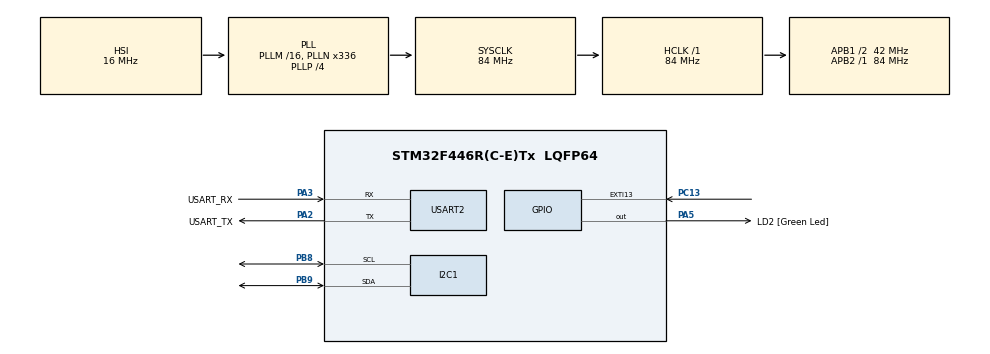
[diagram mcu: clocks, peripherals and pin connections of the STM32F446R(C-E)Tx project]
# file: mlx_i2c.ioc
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I2C1.I2C_Mode=I2C_Fast
Mcu.Family=STM32F4
Mcu.Name=STM32F446R(C-E)Tx
Mcu.Package=LQFP64
NVIC.EXTI15_10_IRQn=true\:0\:0\:false\:false\:true\:true\:true\:true
NVIC.PriorityGroup=NVIC_PRIORITYGROUP_0
PA13.GPIO_Label=TMS
PA13.Mode=Serial_Wire
PA13.Signal=SYS_JTMS-SWDIO
PA14.GPIO_Label=TCK
PA14.Mode=Serial_Wire
PA14.Signal=SYS_JTCK-SWCLK
PA2.GPIO_Label=USART_TX
PA2.Mode=Asynchronous
PA2.Signal=USART2_TX
PA3.GPIO_Label=USART_RX
PA3.Mode=Asynchronous
PA3.Signal=USART2_RX
PA5.GPIO_Label=LD2 [Green Led]
PA5.Signal=GPIO_Output
PB3.GPIO_Label=SWO
PB3.Signal=SYS_JTDO-SWO
PB8.Mode=I2C
PB8.Signal=I2C1_SCL
PB9.Mode=I2C
PB9.Signal=I2C1_SDA
PC13.GPIO_ModeDefaultEXTI=GPIO_MODE_IT_FALLING
PC13.GPIO_PuPd=GPIO_NOPULL
PC13.Signal=GPXTI13
PC14-OSC32_IN.Mode=LSE-External-Oscillator
PC14-OSC32_IN.Signal=RCC_OSC32_IN
PC15-OSC32_OUT.Mode=LSE-External-Oscillator
PC15-OSC32_OUT.Signal=RCC_OSC32_OUT
PH0-OSC_IN.Mode=HSE-External-Oscillator
PH0-OSC_IN.Signal=RCC_OSC_IN
PH1-OSC_OUT.Mode=HSE-External-Oscillator
PH1-OSC_OUT.Signal=RCC_OSC_OUT
ProjectManager.HeapSize=0x200
ProjectManager.StackSize=0x400
ProjectManager.TargetToolchain=STM32CubeIDE
RCC.48MHZClocksFreq_Value=84000000
RCC.AHBFreq_Value=84000000
RCC.APB1CLKDivider=RCC_HCLK_DIV2
RCC.APB1Freq_Value=42000000
RCC.APB1TimFreq_Value=84000000
RCC.APB2Freq_Value=84000000
RCC.APB2TimFreq_Value=84000000
RCC.CortexFreq_Value=84000000
RCC.FLatency-AdvancedSettings=FLASH_LATENCY_2
RCC.HCLKFreq_Value=84000000
RCC.HSE_VALUE=8000000
RCC.HSI_VALUE=16000000
RCC.PLLN=336
RCC.PLLP=RCC_PLLP_DIV4
RCC.SYSCLKFreq_VALUE=84000000
RCC.SYSCLKSource=RCC_SYSCLKSOURCE_PLLCLK
RCC.USBFreq_Value=168000000
RCC.VCOOutputFreq_Value=336000000
USART2.VirtualMode=VM_ASYNC
board=NUCLEO-F446RE

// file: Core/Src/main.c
/* USER CODE BEGIN Header */
/**
  ******************************************************************************
  * @file           : main.c
  * @brief          : Main program body
  ******************************************************************************
  * @attention
  *
  * Copyright (c) 2025 STMicroelectronics.
  * All rights reserved.
  *
  * This software is licensed under terms that can be found in the LICENSE file
  * in the root directory of this software component.
  * If no LICENSE file comes with this software, it is provided AS-IS.
  *
  ******************************************************************************
  */
/* USER CODE END Header */
#include "main.h"
#include "i2c.h"
#include "usart.h"
#include "gpio.h"

/* USER CODE BEGIN Includes */
#include "MLX90640_I2C_Driver.h"
#include "MLX90640_API.h"
#include <stdio.h>
#include <string.h>

/* USER CODE END Includes */

/* USER CODE BEGIN PV */

#define SINGLE_CAPTURE_MODE ///$$$$$ SET MODE HERE $$$$$////
#define  FPS2HZ   0x02
#define  FPS4HZ   0x03
#define  FPS8HZ   0x04
#define  FPS16HZ  0x05
#define  FPS32HZ  0x06

#define  MLX90640_ADDR 0x33
#define	 RefreshRate FPS16HZ
#define  TA_SHIFT 8 //Default shift for MLX90640 in open air

static uint16_t eeData[MLX90640_EEPROM_DUMP_NUM]; //empty buffer for eePROM data
static float mlx90640To[768];
static uint16_t frameData[834]; //frame buffer
float emissivity=0.95;
int status;

//for push button capture
volatile uint8_t capture_requested = 0;
volatile uint8_t frames_to_capture = 0;
float captured_frames[3][768];  // 3 frames of 32x24

//push button debounce
uint32_t last_button_press_time = 0;
const uint32_t debounce_delay_ms = 50;  // debounce delay

/* USER CODE END PV */

void SystemClock_Config(void);

/* USER CODE BEGIN 0 */
int _write(int file, char *ptr, int len)
{
    HAL_UART_Transmit(&huart2, (uint8_t *)ptr, len, HAL_MAX_DELAY);
    return len;
}

void send_mlx90640_frame_binary_quantized(float *frame) {
	//fastest mlx clock rate that can be used = 16Hz
	//16Hz = 8fps => 32*24*16(2 bytes per pixel)*8 = 98304bps < 115200bps

    uint8_t start_bytes[2] = {0xAA, 0x55};
    uint8_t end_bytes[2]   = {0x55, 0xAA};

    int16_t temp_i16[768];
     for (int i = 0; i < 768; i++) {
         temp_i16[i] = (int16_t)(frame[i] * 100);  // e.g. 25.31°C → 2531
     }

    // Send start delimiter
    HAL_UART_Transmit(&huart2, start_bytes, 2, HAL_MAX_DELAY);

    // Send 768 floats = 3072 bytes
    HAL_UART_Transmit(&huart2, (uint8_t *)temp_i16, sizeof(temp_i16), HAL_MAX_DELAY);

    // Send end delimiter
    HAL_UART_Transmit(&huart2, end_bytes, 2, HAL_MAX_DELAY);
}

void HAL_GPIO_EXTI_Callback(uint16_t GPIO_Pin) { //interrupt handler for push button press

    if (GPIO_Pin == GPIO_PIN_13) {  // PC13 = stm32 nucleo push button pin
      // HAL_GPIO_WritePin(LD2_GPIO_Port, LD2_Pin, GPIO_PIN_SET);

    	uint32_t current_time = HAL_GetTick(); //get current time

    	//de-bounce make sure 50ms between button presses
    	if ((current_time - last_button_press_time) >= debounce_delay_ms) {

            capture_requested = 1;
            frames_to_capture = 3; //update with number of frames to capture

        	last_button_press_time = current_time;

    	}

    }
}

/* USER CODE END 0 */

int main(void)
{

  /* MCU Configuration--------------------------------------------------------*/

  /* Reset of all peripherals, Initializes the Flash interface and the Systick. */
  HAL_Init();

  /* Configure the system clock */
  SystemClock_Config();

  /* Initialize all configured peripherals */
  MX_GPIO_Init();
  MX_USART2_UART_Init();
  MX_I2C1_Init();
  /* USER CODE BEGIN 2 */

  HAL_Delay(2000);  // Let sensor power up

  	  MLX90640_SetRefreshRate(MLX90640_ADDR, RefreshRate); //set refresh rate
  	  MLX90640_SetChessMode(MLX90640_ADDR); //set pixel mode

  paramsMLX90640 mlx_params;  //initialize params struct

  int status = MLX90640_DumpEE(0x33, eeData); //dumps eeprom register values into eeData

  if (status == 0) {
      printf("EEPROM read successful\r\n");
  } else {
      printf("EEPROM read failed: %d\r\n", status);
  }

  status = MLX90640_ExtractParameters(eeData, &mlx_params); //extract calibration parameters from EERPOM read

  if (status == 0) {
      printf("Extract Params  successful\r\n");
      printf("Kvdd value %d\r\n",mlx_params.kVdd);

  } else {
      printf("Extract Params failed: %d\r\n", status);
  }

  /* USER CODE END 2 */

  /* Infinite loop */
  /* USER CODE BEGIN WHILE */
  while (1) {

		int frame_status = MLX90640_GetFrameData(0x33, frameData); //Read raw frame data (1 or 2)

		#ifdef MLX90640_DEBUG
			printf("Page%d = [", page);
			for (int i = 0; i < 834; i++) {
			  printf("0x%x, ", FrameData[i]);
			}
			printf("]\r\n")
		#endif

		if (frame_status < 0) {
		  printf("Get frame data failed: %d\r\n", status);
		  continue;
		}
		float Ta = MLX90640_GetTa(frameData, &mlx_params); //get ambient temp value
		float tr = Ta - TA_SHIFT; //reflected temp based on sensor ambient temperature
		#ifdef MLX90640_DEBUG
			printf("vdd:  %f Tr: %f\r\n",vdd,tr);
		#endif
		MLX90640_CalculateTo(frameData, &mlx_params, emissivity , tr, mlx90640To);

		#ifdef SINGLE_CAPTURE_MODE //button press capture mode

		if (capture_requested && frames_to_capture > 0) {
		    // Assume frame is already read into 'frame'
		    memcpy(captured_frames[3 - frames_to_capture], mlx90640To, sizeof(float) * 768);
		    frames_to_capture--;

		    if (frames_to_capture == 0) {
		        capture_requested = 0;
		        // Send over 3 frames over UART
		        for (int f = 0; f < 3; f++) {
		        	send_mlx90640_frame_binary_quantized(captured_frames[f]);  // send frame over UART
		        	//toggle LED

		            HAL_Delay(10);
		        }
		        //Toggle Green LED when the frames are sent
		        HAL_GPIO_WritePin(LD2_GPIO_Port, LD2_Pin, GPIO_PIN_SET);
		        HAL_Delay(1000);
		        HAL_GPIO_WritePin(LD2_GPIO_Port, LD2_Pin, GPIO_PIN_RESET);
		        //printf("Frame Sent\r\n");

		    }
		} //end of capture

		#endif

		#ifdef STREAM_MODE

		send_mlx90640_frame_binary_quantized(mlx90640To); //send frame using 2 bytes per pixel instead of 4

		#endif

		#ifdef MLX90640_DEBUG
			printf("<FRAME>\r\n");

			for(int i = 0; i < 768; i++){
				if(i%32 == 0 && i != 0){
					printf("\r\n");
				}
				printf("%2.2f ",mlx90640To[i]);
			}
			printf("\r\n");
			printf("</FRAME>\r\n");
		#endif

  	 }
    /* USER CODE END WHILE */

    /* USER CODE BEGIN 3 */

    //end if statement

  /* USER CODE END 3 */
}

void SystemClock_Config(void)
{
  RCC_OscInitTypeDef RCC_OscInitStruct = {0};
  RCC_ClkInitTypeDef RCC_ClkInitStruct = {0};

  /** Configure the main internal regulator output voltage
  */
  __HAL_RCC_PWR_CLK_ENABLE();
  __HAL_PWR_VOLTAGESCALING_CONFIG(PWR_REGULATOR_VOLTAGE_SCALE3);

  /** Initializes the RCC Oscillators according to the specified parameters
  * in the RCC_OscInitTypeDef structure.
  */
  RCC_OscInitStruct.OscillatorType = RCC_OSCILLATORTYPE_HSI;
  RCC_OscInitStruct.HSIState = RCC_HSI_ON;
  RCC_OscInitStruct.HSICalibrationValue = RCC_HSICALIBRATION_DEFAULT;
  RCC_OscInitStruct.PLL.PLLState = RCC_PLL_ON;
  RCC_OscInitStruct.PLL.PLLSource = RCC_PLLSOURCE_HSI;
  RCC_OscInitStruct.PLL.PLLM = 16;
  RCC_OscInitStruct.PLL.PLLN = 336;
  RCC_OscInitStruct.PLL.PLLP = RCC_PLLP_DIV4;
  RCC_OscInitStruct.PLL.PLLQ = 2;
  RCC_OscInitStruct.PLL.PLLR = 2;
  if (HAL_RCC_OscConfig(&RCC_OscInitStruct) != HAL_OK)
  {
    Error_Handler();
  }

  /** Initializes the CPU, AHB and APB buses clocks
  */
  RCC_ClkInitStruct.ClockType = RCC_CLOCKTYPE_HCLK|RCC_CLOCKTYPE_SYSCLK
                              |RCC_CLOCKTYPE_PCLK1|RCC_CLOCKTYPE_PCLK2;
  RCC_ClkInitStruct.SYSCLKSource = RCC_SYSCLKSOURCE_PLLCLK;
  RCC_ClkInitStruct.AHBCLKDivider = RCC_SYSCLK_DIV1;
  RCC_ClkInitStruct.APB1CLKDivider = RCC_HCLK_DIV2;
  RCC_ClkInitStruct.APB2CLKDivider = RCC_HCLK_DIV1;

  if (HAL_RCC_ClockConfig(&RCC_ClkInitStruct, FLASH_LATENCY_2) != HAL_OK)
  {
    Error_Handler();
  }
}

void Error_Handler(void)
{
  __disable_irq();
  while (1)
  {
  }
}
